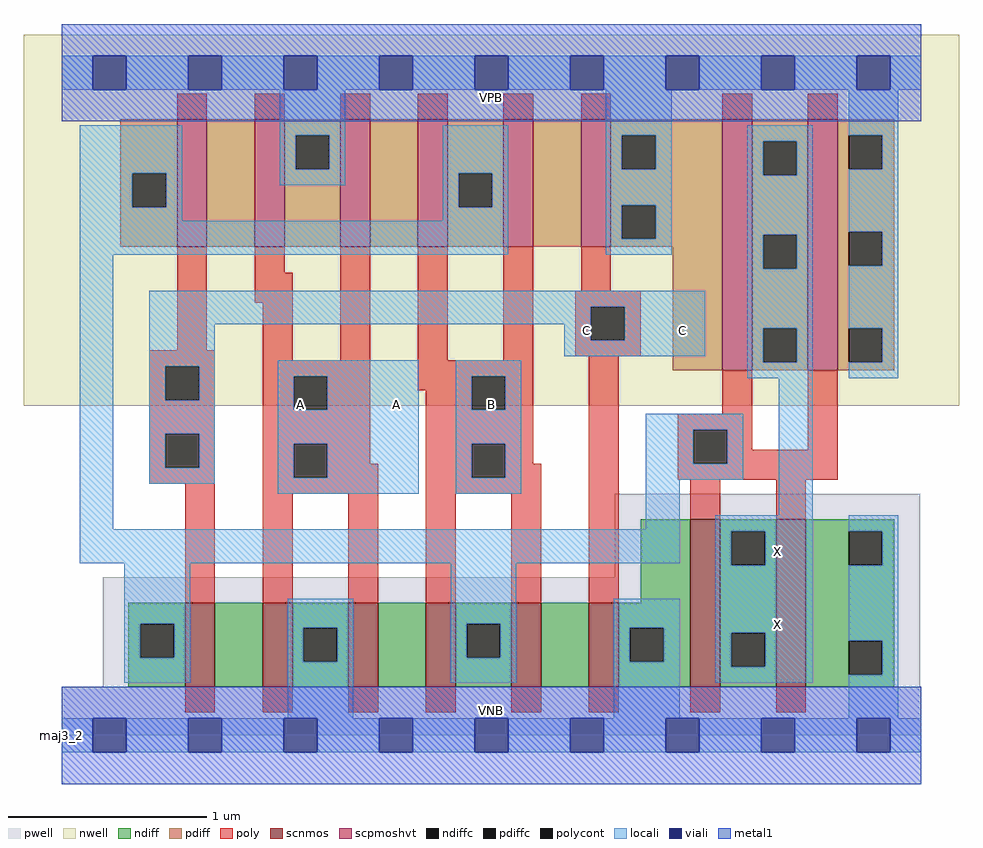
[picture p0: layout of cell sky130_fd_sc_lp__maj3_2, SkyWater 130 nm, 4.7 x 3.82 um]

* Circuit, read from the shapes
.subckt sky130_fd_sc_lp__maj3_2 A B C VGND VNB VPB VPWR X
XM1 n1 C n2 VNB sky130_fd_pr__nfet_01v8 w=0.42 l=0.15
XM2 VGND A n1 VNB sky130_fd_pr__nfet_01v8 w=0.42 l=0.15
XM3 n3 A VGND VNB sky130_fd_pr__nfet_01v8 w=0.42 l=0.15
XM4 n2 B n3 VNB sky130_fd_pr__nfet_01v8 w=0.42 l=0.15
XM5 n4 B n2 VNB sky130_fd_pr__nfet_01v8 w=0.42 l=0.15
XM6 VGND C n4 VNB sky130_fd_pr__nfet_01v8 w=0.42 l=0.15
XM7 X n2 VGND VNB sky130_fd_pr__nfet_01v8 w=0.84 l=0.15 m=2
XM8 n5 C n2 VPB sky130_fd_pr__pfet_01v8_hvt w=0.64 l=0.15
XM9 VPWR A n5 VPB sky130_fd_pr__pfet_01v8_hvt w=0.64 l=0.15
XM10 n6 A VPWR VPB sky130_fd_pr__pfet_01v8_hvt w=0.64 l=0.15
XM11 n2 B n6 VPB sky130_fd_pr__pfet_01v8_hvt w=0.64 l=0.15
XM12 n7 B n2 VPB sky130_fd_pr__pfet_01v8_hvt w=0.64 l=0.15
XM13 VPWR C n7 VPB sky130_fd_pr__pfet_01v8_hvt w=0.64 l=0.15
XM14 X n2 VPWR VPB sky130_fd_pr__pfet_01v8_hvt w=1.26 l=0.15 m=2
.ends

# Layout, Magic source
magic
tech sky130A
magscale 1 2
<< nwell >>
rect -38 331 902 704
<< pwell >>
rect 556 159 863 243
rect 41 49 863 159
rect 0 0 864 49
<< scnmos >>
rect 124 49 154 133
rect 202 49 232 133
rect 288 49 318 133
rect 366 49 396 133
rect 452 49 482 133
rect 530 49 560 133
rect 632 49 662 217
rect 718 49 748 217
<< scpmoshvt >>
rect 116 491 146 619
rect 194 491 224 619
rect 280 491 310 619
rect 358 491 388 619
rect 444 491 474 619
rect 522 491 552 619
rect 664 367 694 619
rect 750 367 780 619
<< ndiff >>
rect 582 133 632 217
rect 67 112 124 133
rect 67 78 79 112
rect 113 78 124 112
rect 67 49 124 78
rect 154 49 202 133
rect 232 108 288 133
rect 232 74 243 108
rect 277 74 288 108
rect 232 49 288 74
rect 318 49 366 133
rect 396 112 452 133
rect 396 78 407 112
rect 441 78 452 112
rect 396 49 452 78
rect 482 49 530 133
rect 560 108 632 133
rect 560 74 571 108
rect 605 74 632 108
rect 560 49 632 74
rect 662 205 718 217
rect 662 171 673 205
rect 707 171 718 205
rect 662 103 718 171
rect 662 69 673 103
rect 707 69 718 103
rect 662 49 718 69
rect 748 205 837 217
rect 748 171 791 205
rect 825 171 837 205
rect 748 95 837 171
rect 748 61 791 95
rect 825 61 837 95
rect 748 49 837 61
<< pdiff >>
rect 59 565 116 619
rect 59 531 71 565
rect 105 531 116 565
rect 59 491 116 531
rect 146 491 194 619
rect 224 603 280 619
rect 224 569 235 603
rect 269 569 280 603
rect 224 491 280 569
rect 310 491 358 619
rect 388 565 444 619
rect 388 531 399 565
rect 433 531 444 565
rect 388 491 444 531
rect 474 491 522 619
rect 552 603 664 619
rect 552 569 563 603
rect 597 569 664 603
rect 552 533 664 569
rect 552 499 563 533
rect 597 499 664 533
rect 552 491 664 499
rect 614 367 664 491
rect 694 597 750 619
rect 694 563 705 597
rect 739 563 750 597
rect 694 503 750 563
rect 694 469 705 503
rect 739 469 750 503
rect 694 409 750 469
rect 694 375 705 409
rect 739 375 750 409
rect 694 367 750 375
rect 780 603 837 619
rect 780 569 791 603
rect 825 569 837 603
rect 780 506 837 569
rect 780 472 791 506
rect 825 472 837 506
rect 780 409 837 472
rect 780 375 791 409
rect 825 375 837 409
rect 780 367 837 375
<< ndiffc >>
rect 79 78 113 112
rect 243 74 277 108
rect 407 78 441 112
rect 571 74 605 108
rect 673 171 707 205
rect 673 69 707 103
rect 791 171 825 205
rect 791 61 825 95
<< pdiffc >>
rect 71 531 105 565
rect 235 569 269 603
rect 399 531 433 565
rect 563 569 597 603
rect 563 499 597 533
rect 705 563 739 597
rect 705 469 739 503
rect 705 375 739 409
rect 791 569 825 603
rect 791 472 825 506
rect 791 375 825 409
<< poly >>
rect 116 619 146 645
rect 194 619 224 645
rect 280 619 310 645
rect 358 619 388 645
rect 444 619 474 645
rect 522 619 552 645
rect 664 619 694 645
rect 750 619 780 645
rect 116 387 146 491
rect 194 465 224 491
rect 194 435 232 465
rect 88 371 154 387
rect 88 337 104 371
rect 138 337 154 371
rect 88 303 154 337
rect 88 269 104 303
rect 138 269 154 303
rect 88 253 154 269
rect 124 133 154 253
rect 202 377 232 435
rect 280 377 310 491
rect 202 361 310 377
rect 202 327 233 361
rect 267 327 310 361
rect 358 377 388 491
rect 444 377 474 491
rect 522 447 552 491
rect 516 431 582 447
rect 516 397 532 431
rect 566 397 582 431
rect 516 381 582 397
rect 358 361 474 377
rect 358 347 412 361
rect 202 293 310 327
rect 202 259 233 293
rect 267 273 310 293
rect 366 327 412 347
rect 446 327 474 361
rect 366 293 474 327
rect 267 259 318 273
rect 202 243 318 259
rect 202 133 232 243
rect 288 133 318 243
rect 366 259 412 293
rect 446 273 474 293
rect 446 259 482 273
rect 366 243 482 259
rect 366 133 396 243
rect 452 133 482 243
rect 530 133 560 381
rect 664 323 694 367
rect 619 307 694 323
rect 619 273 635 307
rect 669 287 694 307
rect 750 287 780 367
rect 669 273 780 287
rect 619 257 780 273
rect 632 217 662 257
rect 718 217 748 257
rect 124 23 154 49
rect 202 23 232 49
rect 288 23 318 49
rect 366 23 396 49
rect 452 23 482 49
rect 530 23 560 49
rect 632 23 662 49
rect 718 23 748 49
<< polycont >>
rect 104 337 138 371
rect 104 269 138 303
rect 233 327 267 361
rect 532 397 566 431
rect 233 259 267 293
rect 412 327 446 361
rect 412 259 446 293
rect 635 273 669 307
<< locali >>
rect 0 649 31 683
rect 65 649 127 683
rect 161 649 223 683
rect 257 649 319 683
rect 353 649 415 683
rect 449 649 511 683
rect 545 649 607 683
rect 641 649 703 683
rect 737 649 799 683
rect 833 649 864 683
rect 18 565 121 613
rect 18 531 71 565
rect 105 531 121 565
rect 219 603 285 649
rect 219 569 235 603
rect 269 569 285 603
rect 219 553 285 569
rect 383 565 449 613
rect 18 517 121 531
rect 383 531 399 565
rect 433 531 449 565
rect 383 517 449 531
rect 18 483 449 517
rect 547 603 613 649
rect 547 569 563 603
rect 597 569 613 603
rect 547 533 613 569
rect 547 499 563 533
rect 597 499 613 533
rect 547 483 613 499
rect 689 597 755 613
rect 689 563 705 597
rect 739 563 755 597
rect 689 503 755 563
rect 18 207 52 483
rect 689 469 705 503
rect 739 469 755 503
rect 88 431 647 447
rect 88 413 532 431
rect 88 371 154 413
rect 505 397 532 413
rect 566 397 647 431
rect 505 381 647 397
rect 689 409 755 469
rect 88 337 104 371
rect 138 337 154 371
rect 88 303 154 337
rect 88 269 104 303
rect 138 269 154 303
rect 88 253 154 269
rect 217 361 359 377
rect 217 327 233 361
rect 267 327 359 361
rect 217 293 359 327
rect 217 259 233 293
rect 267 259 359 293
rect 217 243 359 259
rect 396 361 462 377
rect 396 327 412 361
rect 446 327 462 361
rect 689 375 705 409
rect 739 375 755 409
rect 689 359 755 375
rect 791 603 841 649
rect 825 569 841 603
rect 791 506 841 569
rect 825 472 841 506
rect 791 409 841 472
rect 825 375 841 409
rect 791 359 841 375
rect 396 293 462 327
rect 396 259 412 293
rect 446 259 462 293
rect 396 243 462 259
rect 587 307 685 323
rect 587 273 635 307
rect 669 273 685 307
rect 587 257 685 273
rect 587 207 621 257
rect 721 221 755 359
rect 18 173 621 207
rect 657 205 755 221
rect 63 112 129 173
rect 63 78 79 112
rect 113 78 129 112
rect 63 53 129 78
rect 227 108 293 137
rect 227 74 243 108
rect 277 74 293 108
rect 227 17 293 74
rect 391 112 457 173
rect 657 171 673 205
rect 707 171 755 205
rect 391 78 407 112
rect 441 78 457 112
rect 391 53 457 78
rect 555 108 621 137
rect 555 74 571 108
rect 605 74 621 108
rect 555 17 621 74
rect 657 103 755 171
rect 657 69 673 103
rect 707 69 755 103
rect 657 53 755 69
rect 791 205 841 221
rect 825 171 841 205
rect 791 95 841 171
rect 825 61 841 95
rect 791 17 841 61
rect 0 -17 31 17
rect 65 -17 127 17
rect 161 -17 223 17
rect 257 -17 319 17
rect 353 -17 415 17
rect 449 -17 511 17
rect 545 -17 607 17
rect 641 -17 703 17
rect 737 -17 799 17
rect 833 -17 864 17
<< viali >>
rect 31 649 65 683
rect 127 649 161 683
rect 223 649 257 683
rect 319 649 353 683
rect 415 649 449 683
rect 511 649 545 683
rect 607 649 641 683
rect 703 649 737 683
rect 799 649 833 683
rect 31 -17 65 17
rect 127 -17 161 17
rect 223 -17 257 17
rect 319 -17 353 17
rect 415 -17 449 17
rect 511 -17 545 17
rect 607 -17 641 17
rect 703 -17 737 17
rect 799 -17 833 17
<< metal1 >>
rect 0 683 864 715
rect 0 649 31 683
rect 65 649 127 683
rect 161 649 223 683
rect 257 649 319 683
rect 353 649 415 683
rect 449 649 511 683
rect 545 649 607 683
rect 641 649 703 683
rect 737 649 799 683
rect 833 649 864 683
rect 0 617 864 649
rect 0 17 864 49
rect 0 -17 31 17
rect 65 -17 127 17
rect 161 -17 223 17
rect 257 -17 319 17
rect 353 -17 415 17
rect 449 -17 511 17
rect 545 -17 607 17
rect 641 -17 703 17
rect 737 -17 799 17
rect 833 -17 864 17
rect 0 -49 864 -17
<< labels >>
flabel pwell s 0 0 864 49 0 FreeSans 200 0 0 0 VNB
port 5 nsew ground bidirectional
flabel nwell s 0 617 864 666 0 FreeSans 200 0 0 0 VPB
port 6 nsew power bidirectional
rlabel comment s 0 0 0 0 4 maj3_2
flabel metal1 s 0 617 864 666 0 FreeSans 340 0 0 0 VPWR
port 7 nsew power bidirectional
flabel metal1 s 0 0 864 49 0 FreeSans 340 0 0 0 VGND
port 4 nsew ground bidirectional
flabel locali s 703 94 737 128 0 FreeSans 340 0 0 0 X
port 8 nsew signal output
flabel locali s 703 168 737 202 0 FreeSans 340 0 0 0 X
port 8 nsew signal output
flabel locali s 223 316 257 350 0 FreeSans 340 0 0 0 A
port 1 nsew signal input
flabel locali s 319 316 353 350 0 FreeSans 340 0 0 0 A
port 1 nsew signal input
flabel locali s 415 316 449 350 0 FreeSans 340 0 0 0 B
port 2 nsew signal input
flabel locali s 511 390 545 424 0 FreeSans 340 0 0 0 C
port 3 nsew signal input
flabel locali s 607 390 641 424 0 FreeSans 340 0 0 0 C
port 3 nsew signal input
<< properties >>
string LEFsite unit
string LEFclass CORE
string FIXED_BBOX 0 0 864 666
string GDS_FILE $PDKPATH/libs.ref/sky130_fd_sc_lp/gds/sky130_fd_sc_lp.gds
string LEFsymmetry X Y R90
string GDS_END 6766388
string GDS_START 6759446
<< end >>
